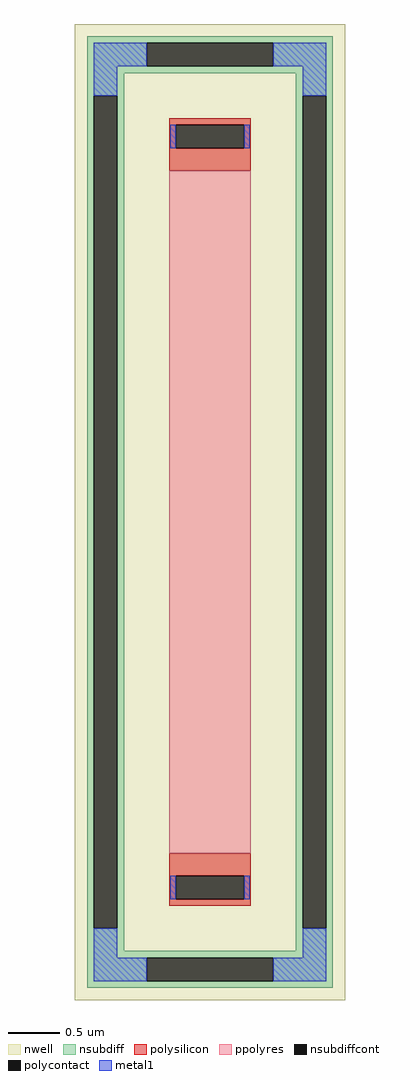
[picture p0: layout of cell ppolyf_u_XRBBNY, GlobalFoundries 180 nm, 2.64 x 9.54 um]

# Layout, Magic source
magic
tech gf180mcuC
magscale 1 10
<< nwell >>
rect -264 -954 264 954
<< nsubdiff >>
rect -240 917 240 930
rect -240 871 -124 917
rect 124 871 240 917
rect -240 858 240 871
rect -240 814 -168 858
rect -240 -814 -227 814
rect -181 -814 -168 814
rect 168 814 240 858
rect -240 -858 -168 -814
rect 168 -814 181 814
rect 227 -814 240 814
rect 168 -858 240 -814
rect -240 -871 240 -858
rect -240 -917 -124 -871
rect 124 -917 240 -871
rect -240 -930 240 -917
<< nsubdiffcont >>
rect -124 871 124 917
rect -227 -814 -181 814
rect 181 -814 227 814
rect -124 -917 124 -871
<< polysilicon >>
rect -80 757 80 770
rect -80 711 -67 757
rect 67 711 80 757
rect -80 667 80 711
rect -80 -711 80 -667
rect -80 -757 -67 -711
rect 67 -757 80 -711
rect -80 -770 80 -757
<< polycontact >>
rect -67 711 67 757
rect -67 -757 67 -711
<< ppolyres >>
rect -80 -667 80 667
<< metal1 >>
rect -227 871 -124 917
rect 124 871 227 917
rect -227 814 -181 871
rect 181 814 227 871
rect -78 711 -67 757
rect 67 711 78 757
rect -78 -757 -67 -711
rect 67 -757 78 -711
rect -227 -871 -181 -814
rect 181 -871 227 -814
rect -227 -917 -124 -871
rect 124 -917 227 -871
<< properties >>
string FIXED_BBOX -204 -894 204 894
string gencell ppolyf_u
string library gf180mcu
string parameters w 0.8 l 6.672 m 1 nx 1 wmin 0.80 lmin 1.00 rho 315 val 2.879k dummy 0 dw 0.07 term 0.0 sterm 0.0 caplen 0.4 snake 0 glc 1 grc 1 gtc 1 gbc 1 roverlap 0 endcov 100 full_metal 1
<< end >>
